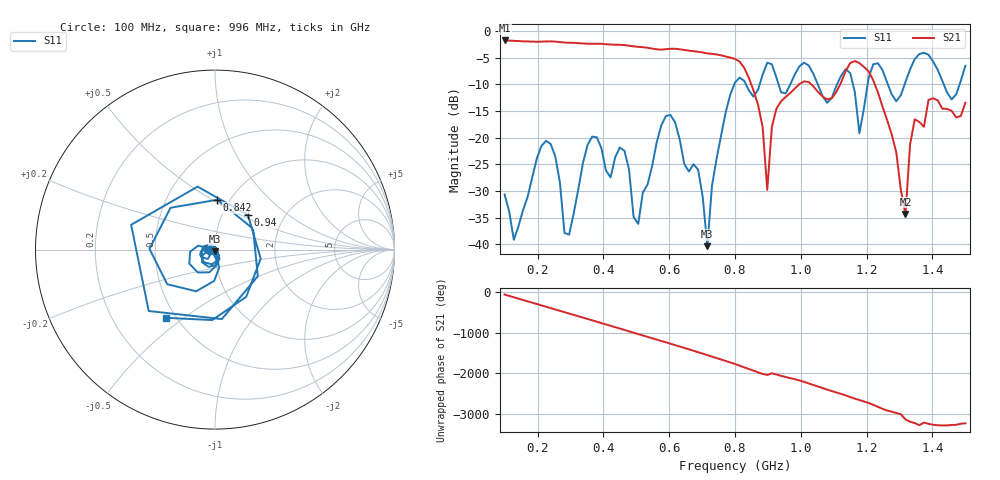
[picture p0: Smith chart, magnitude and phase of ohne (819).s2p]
! NanoVNA-App
! Date: 2025-09-25 14:27:10
! Start: 100MHz Stop: 1,5GHz Points: 101
! S-Parameter data: F S11 S21 S12 S22
# Hz S RI R 50
!  Frequency  S11_Real  S11_Imag  S21_Real  S21_Imag  S12_Real  S12_Imag  S22_Real  S22_Imag
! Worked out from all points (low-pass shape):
!   101 points, 100 MHz to 1.5 GHz, reference 50 ohm
!   highest |S21| = -1.79 dB at 100 MHz (marker M1); lowest = -34.3 dB at 1.318 GHz (marker M2)
!   |S21| within 3 dB of the highest: start of sweep to 771.4 MHz
!   lowest |S11| = -40.3 dB at 716 MHz (marker M3), VSWR 1.02, Z = 49.8 - j0.941 ohm
!   |S11| at or under -10 dB: start of sweep to 797.9 MHz; 833.1 MHz to 875.1 MHz (42.02 MHz wide, 4.92 % of centre); 1.052 GHz to 1.11 GHz (58.67 MHz wide, 5.43 % of centre) (the widest 3 of 7)
!   S12 and S22 are empty: the file has one direction only
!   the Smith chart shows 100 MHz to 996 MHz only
!   S11 on the Smith chart (normalised r, x): 100 MHz: 0.94, -0.01; 842 MHz: 0.88, +0.53; 940 MHz: 1.32, +0.55; 996 MHz: 0.44, -0.43
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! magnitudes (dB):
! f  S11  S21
! 100 MHz  -30.6  -1.8
! 128 MHz  -39.1  -1.9
! 226 MHz  -20.6  -2.0
! 296 MHz  -38.2  -2.2
! 338 MHz  -24.8  -2.4
! 464 MHz  -22.4  -2.7
! 506 MHz  -36.2  -3.0
! 576 MHz  -17.7  -3.5
! 688 MHz  -26.0  -3.9
! 716 MHz  -40.3  -4.2
! 800 MHz  -9.7  -5.3
! 842 MHz  -11.1  -8.8
! 898 MHz  -6.0  -29.8
! 940 MHz  -11.5  -13.2
! 996 MHz  -6.6  -10.0
! 1.038 GHz  -8.0  -10.4
! 1.178 GHz  -19.2  -6.0
! 1.22 GHz  -6.3  -9.3
! 1.276 GHz  -11.8  -19.3
! 1.318 GHz  -9.6  -34.3
! 1.346 GHz  -5.3  -16.6
! 1.5 GHz  -6.5  -13.5
